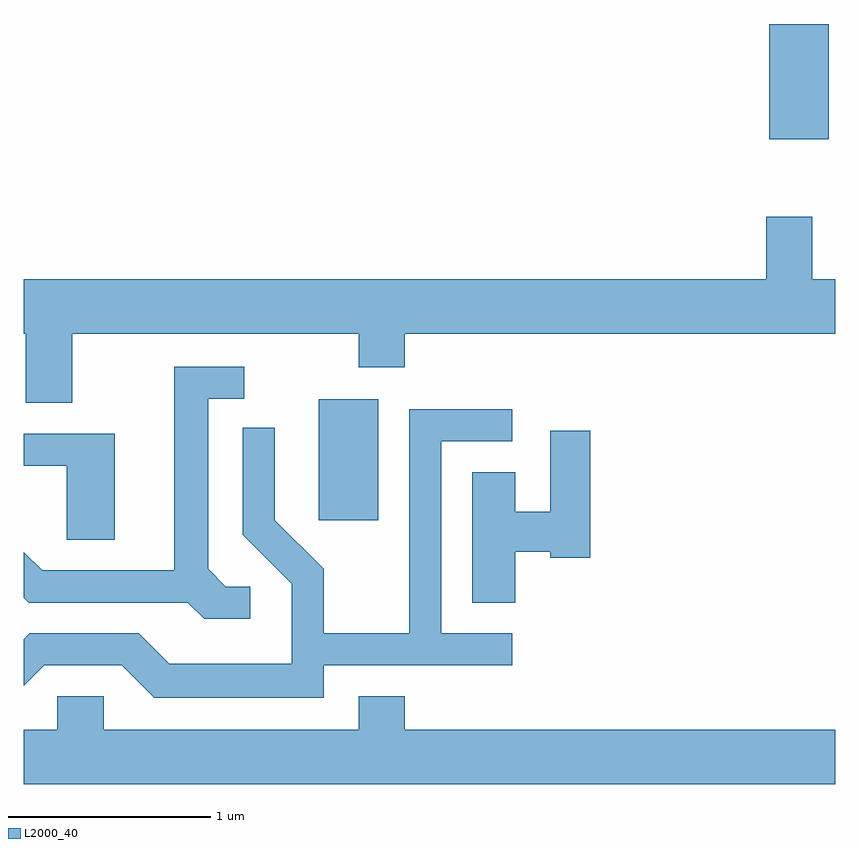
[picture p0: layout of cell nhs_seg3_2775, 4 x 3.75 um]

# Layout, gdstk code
import gdstk
lib = gdstk.Library(unit=1e-6, precision=1e-09)
def R(c, l, rs):  # rectangles x0, y0, x1, y1
    for r in rs: c.add(gdstk.rectangle(r[:2], r[2:], *l))
def P(c, l, *ps):  # polygons
    for p in ps: c.add(gdstk.Polygon(p, *l))
L2000_40 = (2000, 40)

nhs_seg3_2775 = lib.new_cell('nhs_seg3_2775')
R(nhs_seg3_2775, L2000_40, [(267.066,1227.216,267.359,1227.814), (269.286,1229.096,269.579,1229.664)])
P(nhs_seg3_2775, L2000_40, [(265.849,1228.136),(267.261,1228.136),(267.261,1227.971),(267.489,1227.971),(267.489,1228.136),(269.611,1228.136),(269.611,1228.404),(269.499,1228.404),(269.499,1228.714),(269.271,1228.714),(269.271,1228.404),(265.611,1228.404),(265.611,1228.136),(265.621,1228.136),(265.621,1227.796),(265.849,1227.796)],
  [(266.728,1226.889),(266.607,1226.889),(266.519,1226.977),(266.519,1227.816),(266.698,1227.816),(266.698,1227.974),(266.351,1227.974),(266.351,1226.969),(265.702,1226.969),(265.611,1227.06),(265.611,1226.834),(265.634,1226.811),(266.419,1226.811),(266.499,1226.731),(266.728,1226.731)],
  [(267.089,1226.501),(268.018,1226.501),(268.018,1226.659),(267.669,1226.659),(267.669,1227.606),(268.018,1227.606),(268.018,1227.764),(267.511,1227.764),(267.511,1226.659),(267.089,1226.659),(267.089,1226.977),(266.849,1227.217),(266.849,1227.673),(266.691,1227.673),(266.691,1227.144),(266.931,1226.904),(266.931,1226.509),(266.327,1226.509),(266.177,1226.659),(265.639,1226.659),(265.611,1226.631),(265.611,1226.4),(265.712,1226.501),(266.094,1226.501),(266.254,1226.341),(267.089,1226.341)],
  [(268.034,1227.061),(268.206,1227.061),(268.206,1227.031),(268.404,1227.031),(268.404,1227.659),(268.206,1227.659),(268.206,1227.259),(268.034,1227.259),(268.034,1227.454),(267.821,1227.454),(267.821,1226.811),(268.034,1226.811)],
  [(266.059,1227.644),(265.611,1227.644),(265.611,1227.486),(265.821,1227.486),(265.821,1227.121),(266.059,1227.121)],
  [(269.611,1226.184),(267.489,1226.184),(267.489,1226.349),(267.261,1226.349),(267.261,1226.184),(266.004,1226.184),(266.004,1226.349),(265.776,1226.349),(265.776,1226.184),(265.611,1226.184),(265.611,1225.916),(269.611,1225.916)])

lib.write_gds('nhs_seg3_2775.gds')
